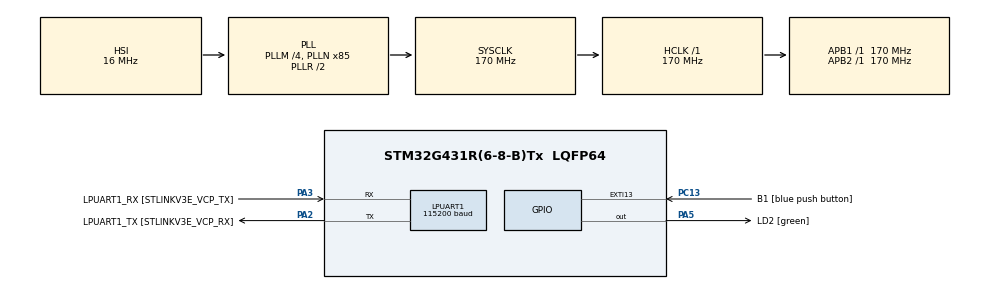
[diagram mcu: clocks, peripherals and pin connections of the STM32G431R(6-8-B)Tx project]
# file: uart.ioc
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LPUART1.BaudRate=115200
Mcu.Family=STM32G4
Mcu.Name=STM32G431R(6-8-B)Tx
Mcu.Package=LQFP64
NVIC.PriorityGroup=NVIC_PRIORITYGROUP_4
PA13.GPIO_Label=T_SWDIO
PA13.Signal=SYS_JTMS-SWDIO
PA14.GPIO_Label=T_SWCLK
PA14.Signal=SYS_JTCK-SWCLK
PA2.GPIO_Label=LPUART1_TX [STLINKV3E_VCP_RX]
PA2.Mode=Asynchronous
PA2.Signal=LPUART1_TX
PA3.GPIO_Label=LPUART1_RX [STLINKV3E_VCP_TX]
PA3.Mode=Asynchronous
PA3.Signal=LPUART1_RX
PA5.GPIO_Label=LD2 [green]
PA5.Signal=GPIO_Output
PB3.GPIO_Label=T_SWO
PB3.Signal=SYS_JTDO-SWO
PC13.GPIO_Label=B1 [blue push button]
PC13.Signal=GPXTI13
PC14-OSC32_IN.Signal=RCC_OSC32_IN
PC15-OSC32_OUT.Signal=RCC_OSC32_OUT
PF0-OSC_IN.Signal=RCC_OSC_IN
PF1-OSC_OUT.Signal=RCC_OSC_OUT
ProjectManager.HeapSize=0x200
ProjectManager.StackSize=0x400
ProjectManager.TargetToolchain=MDK-ARM V5.32
RCC.ADC12Freq_Value=170000000
RCC.AHBFreq_Value=170000000
RCC.APB1Freq_Value=170000000
RCC.APB1TimFreq_Value=170000000
RCC.APB2Freq_Value=170000000
RCC.APB2TimFreq_Value=170000000
RCC.CortexFreq_Value=170000000
RCC.EXTERNAL_CLOCK_VALUE=12288000
RCC.HCLKFreq_Value=170000000
RCC.HSE_VALUE=24000000
RCC.HSI48_VALUE=48000000
RCC.HSI_VALUE=16000000
RCC.LSE_VALUE=32768
RCC.PLLM=RCC_PLLM_DIV4
RCC.PLLN=85
RCC.RTCClockSelection=RCC_RTCCLKSOURCE_LSE
RCC.SYSCLKFreq_VALUE=170000000
RCC.SYSCLKSource=RCC_SYSCLKSOURCE_PLLCLK
RCC.USBFreq_Value=170000000
RCC.VCOOutputFreq_Value=340000000
VP_SYS_VS_DBSignals.Mode=DisableDeadBatterySignals
board=NUCLEO-G431RB

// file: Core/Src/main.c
/* USER CODE BEGIN Header */
/**
 ******************************************************************************
 * @file           : main.c
 * @brief          : Main program body
 ******************************************************************************
 * @attention
 *
 * Copyright (c) 2022 STMicroelectronics.
 * All rights reserved.
 *
 * This software is licensed under terms that can be found in the LICENSE file
 * in the root directory of this software component.
 * If no LICENSE file comes with this software, it is provided AS-IS.
 *
 ******************************************************************************
 */
/* USER CODE END Header */
#include "main.h"

UART_HandleTypeDef hlpuart1;

/* USER CODE BEGIN PV */
static void MPU_RegionConfig(void);
/* USER CODE END PV */

void SystemClock_Config(void);
static void MX_GPIO_Init(void);
static void MX_LPUART1_UART_Init(void);

int main(void)
{

    /* MCU Configuration--------------------------------------------------------*/

    /* Reset of all peripherals, Initializes the Flash interface and the Systick. */
    HAL_Init();

    /* Configure the system clock */
    SystemClock_Config();

    /* Initialize all configured peripherals */
    MX_GPIO_Init();
    MX_LPUART1_UART_Init();
    /* USER CODE BEGIN 2 */
    HAL_UART_Transmit(&hlpuart1, (uint8_t *)"Hello World!\n", 13, 10);
    /* USER CODE END 2 */

    MPU_RegionConfig();
    volatile uint32_t *paddr = (uint32_t *)0x20008000 - 4;
    uint32_t temp = *paddr;
    paddr = (uint32_t *)0x8020000 - 4;
    temp = *paddr;

    paddr = (uint32_t *)0x8020000;
    temp = *paddr;
    paddr = (uint32_t *)0x20008000;
    temp = *paddr;

    /* Infinite loop */
    while (1)
    {

    }
}

void SystemClock_Config(void)
{
    RCC_OscInitTypeDef RCC_OscInitStruct = {0};
    RCC_ClkInitTypeDef RCC_ClkInitStruct = {0};

    /** Configure the main internal regulator output voltage
     */
    HAL_PWREx_ControlVoltageScaling(PWR_REGULATOR_VOLTAGE_SCALE1_BOOST);

    /** Initializes the RCC Oscillators according to the specified parameters
     * in the RCC_OscInitTypeDef structure.
     */
    RCC_OscInitStruct.OscillatorType = RCC_OSCILLATORTYPE_HSI;
    RCC_OscInitStruct.HSIState = RCC_HSI_ON;
    RCC_OscInitStruct.HSICalibrationValue = RCC_HSICALIBRATION_DEFAULT;
    RCC_OscInitStruct.PLL.PLLState = RCC_PLL_ON;
    RCC_OscInitStruct.PLL.PLLSource = RCC_PLLSOURCE_HSI;
    RCC_OscInitStruct.PLL.PLLM = RCC_PLLM_DIV4;
    RCC_OscInitStruct.PLL.PLLN = 85;
    RCC_OscInitStruct.PLL.PLLP = RCC_PLLP_DIV2;
    RCC_OscInitStruct.PLL.PLLQ = RCC_PLLQ_DIV2;
    RCC_OscInitStruct.PLL.PLLR = RCC_PLLR_DIV2;
    if (HAL_RCC_OscConfig(&RCC_OscInitStruct) != HAL_OK)
    {
        Error_Handler();
    }

    /** Initializes the CPU, AHB and APB buses clocks
     */
    RCC_ClkInitStruct.ClockType = RCC_CLOCKTYPE_HCLK | RCC_CLOCKTYPE_SYSCLK | RCC_CLOCKTYPE_PCLK1 | RCC_CLOCKTYPE_PCLK2;
    RCC_ClkInitStruct.SYSCLKSource = RCC_SYSCLKSOURCE_PLLCLK;
    RCC_ClkInitStruct.AHBCLKDivider = RCC_SYSCLK_DIV1;
    RCC_ClkInitStruct.APB1CLKDivider = RCC_HCLK_DIV1;
    RCC_ClkInitStruct.APB2CLKDivider = RCC_HCLK_DIV1;

    if (HAL_RCC_ClockConfig(&RCC_ClkInitStruct, FLASH_LATENCY_4) != HAL_OK)
    {
        Error_Handler();
    }
}

static void MX_LPUART1_UART_Init(void)
{

    hlpuart1.Instance = LPUART1;
    hlpuart1.Init.BaudRate = 115200;
    hlpuart1.Init.WordLength = UART_WORDLENGTH_8B;
    hlpuart1.Init.StopBits = UART_STOPBITS_1;
    hlpuart1.Init.Parity = UART_PARITY_NONE;
    hlpuart1.Init.Mode = UART_MODE_TX_RX;
    hlpuart1.Init.HwFlowCtl = UART_HWCONTROL_NONE;
    hlpuart1.Init.OneBitSampling = UART_ONE_BIT_SAMPLE_DISABLE;
    hlpuart1.Init.ClockPrescaler = UART_PRESCALER_DIV1;
    hlpuart1.AdvancedInit.AdvFeatureInit = UART_ADVFEATURE_NO_INIT;
    if (HAL_UART_Init(&hlpuart1) != HAL_OK)
    {
        Error_Handler();
    }
    if (HAL_UARTEx_SetTxFifoThreshold(&hlpuart1, UART_TXFIFO_THRESHOLD_1_8) != HAL_OK)
    {
        Error_Handler();
    }
    if (HAL_UARTEx_SetRxFifoThreshold(&hlpuart1, UART_RXFIFO_THRESHOLD_1_8) != HAL_OK)
    {
        Error_Handler();
    }
    if (HAL_UARTEx_DisableFifoMode(&hlpuart1) != HAL_OK)
    {
        Error_Handler();
    }
}

static void MX_GPIO_Init(void)
{
    GPIO_InitTypeDef GPIO_InitStruct = {0};

    /* GPIO Ports Clock Enable */
    __HAL_RCC_GPIOC_CLK_ENABLE();
    __HAL_RCC_GPIOF_CLK_ENABLE();
    __HAL_RCC_GPIOA_CLK_ENABLE();
    __HAL_RCC_GPIOB_CLK_ENABLE();

    /*Configure GPIO pin Output Level */
    HAL_GPIO_WritePin(LD2_GPIO_Port, LD2_Pin, GPIO_PIN_RESET);

    /*Configure GPIO pin : B1_Pin */
    GPIO_InitStruct.Pin = B1_Pin;
    GPIO_InitStruct.Mode = GPIO_MODE_IT_RISING;
    GPIO_InitStruct.Pull = GPIO_NOPULL;
    HAL_GPIO_Init(B1_GPIO_Port, &GPIO_InitStruct);

    /*Configure GPIO pin : LD2_Pin */
    GPIO_InitStruct.Pin = LD2_Pin;
    GPIO_InitStruct.Mode = GPIO_MODE_OUTPUT_PP;
    GPIO_InitStruct.Pull = GPIO_NOPULL;
    GPIO_InitStruct.Speed = GPIO_SPEED_FREQ_LOW;
    HAL_GPIO_Init(LD2_GPIO_Port, &GPIO_InitStruct);
}

/* USER CODE BEGIN 4 */

static void MPU_RegionConfig(void)
{
    MPU_Region_InitTypeDef MPU_InitStruct;
    /* Disable MPU */
    HAL_MPU_Disable();
    /* Configure RAM region as Region N?, 64kB of size and R/W region */
    MPU_InitStruct.Enable = MPU_REGION_ENABLE;
    MPU_InitStruct.BaseAddress = 0x20000000;
    // 将SRAM区域大小配置为64K，确保不会因MPU配置产生陷阱
    MPU_InitStruct.Size = MPU_REGION_SIZE_64KB;
    MPU_InitStruct.AccessPermission = MPU_REGION_FULL_ACCESS;
    MPU_InitStruct.IsBufferable = MPU_ACCESS_NOT_BUFFERABLE;
    MPU_InitStruct.IsCacheable = MPU_ACCESS_CACHEABLE;
    MPU_InitStruct.IsShareable = MPU_ACCESS_SHAREABLE;
    MPU_InitStruct.Number = MPU_REGION_NUMBER0;
    MPU_InitStruct.TypeExtField = MPU_TEX_LEVEL0;
    MPU_InitStruct.SubRegionDisable = 0x00;
    MPU_InitStruct.DisableExec = MPU_INSTRUCTION_ACCESS_ENABLE;
    HAL_MPU_ConfigRegion(&MPU_InitStruct);
    /* Configure FLASH region as REGION N1, 1MB of size and R/W region */
    MPU_InitStruct.BaseAddress = 0x08000000;
    MPU_InitStruct.Size = MPU_REGION_SIZE_1MB;
    MPU_InitStruct.IsShareable = MPU_ACCESS_NOT_SHAREABLE;
    MPU_InitStruct.Number = MPU_REGION_NUMBER1;
    HAL_MPU_ConfigRegion(&MPU_InitStruct);
    /* Configure FMC region as REGION N�2, 0.5GB of size, R/W region */
    MPU_InitStruct.BaseAddress = 0x60000000;
    MPU_InitStruct.Size = MPU_REGION_SIZE_512MB;
    MPU_InitStruct.IsShareable = MPU_ACCESS_SHAREABLE;
    MPU_InitStruct.Number = MPU_REGION_NUMBER2;
    HAL_MPU_ConfigRegion(&MPU_InitStruct);
    /* Enable MPU */
    HAL_MPU_Enable(MPU_PRIVILEGED_DEFAULT);
}

/* USER CODE END 4 */

void Error_Handler(void)
{
    __disable_irq();
    while (1)
    {
    }
}
